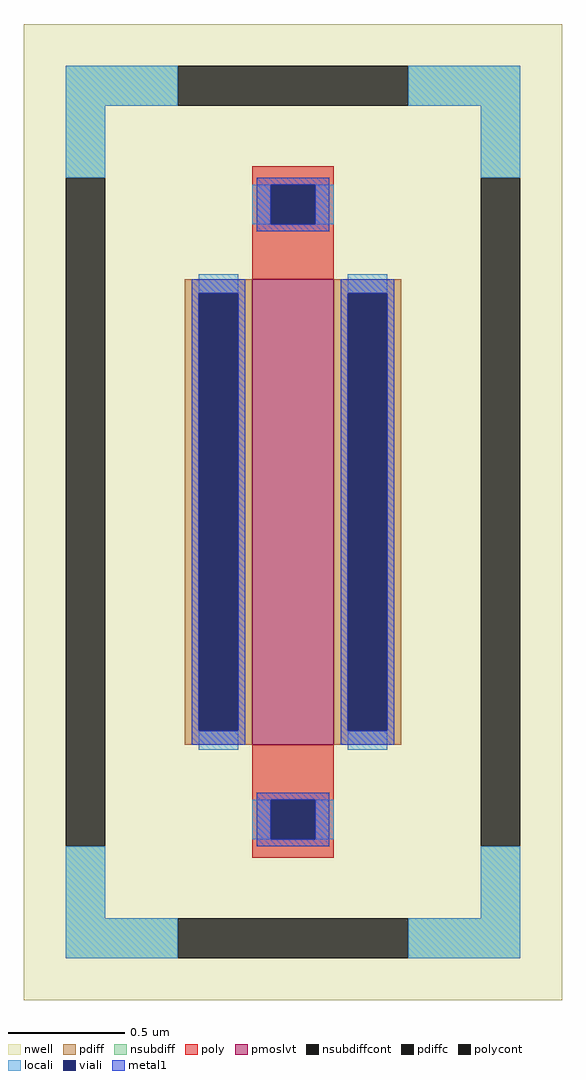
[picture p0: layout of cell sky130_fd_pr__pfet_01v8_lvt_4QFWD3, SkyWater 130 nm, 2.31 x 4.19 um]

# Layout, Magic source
magic
tech sky130A
magscale 1 2
<< nwell >>
rect -231 -419 231 419
<< pmoslvt >>
rect -35 -200 35 200
<< pdiff >>
rect -93 188 -35 200
rect -93 -188 -81 188
rect -47 -188 -35 188
rect -93 -200 -35 -188
rect 35 188 93 200
rect 35 -188 47 188
rect 81 -188 93 188
rect 35 -200 93 -188
<< pdiffc >>
rect -81 -188 -47 188
rect 47 -188 81 188
<< nsubdiff >>
rect -195 349 -99 383
rect 99 349 195 383
rect -195 287 -161 349
rect 161 287 195 349
rect -195 -349 -161 -287
rect 161 -349 195 -287
rect -195 -383 -99 -349
rect 99 -383 195 -349
<< nsubdiffcont >>
rect -99 349 99 383
rect -195 -287 -161 287
rect 161 -287 195 287
rect -99 -383 99 -349
<< poly >>
rect -35 281 35 297
rect -35 247 -19 281
rect 19 247 35 281
rect -35 200 35 247
rect -35 -247 35 -200
rect -35 -281 -19 -247
rect 19 -281 35 -247
rect -35 -297 35 -281
<< polycont >>
rect -19 247 19 281
rect -19 -281 19 -247
<< locali >>
rect -195 349 -99 383
rect 99 349 195 383
rect -195 287 -161 349
rect 161 287 195 349
rect -35 247 -19 281
rect 19 247 35 281
rect -81 188 -47 204
rect -81 -204 -47 -188
rect 47 188 81 204
rect 47 -204 81 -188
rect -35 -281 -19 -247
rect 19 -281 35 -247
rect -195 -349 -161 -287
rect 161 -349 195 -287
rect -195 -383 -99 -349
rect 99 -383 195 -349
<< viali >>
rect -19 247 19 281
rect -81 -188 -47 188
rect 47 -188 81 188
rect -19 -281 19 -247
<< metal1 >>
rect -31 281 31 287
rect -31 247 -19 281
rect 19 247 31 281
rect -31 241 31 247
rect -87 188 -41 200
rect -87 -188 -81 188
rect -47 -188 -41 188
rect -87 -200 -41 -188
rect 41 188 87 200
rect 41 -188 47 188
rect 81 -188 87 188
rect 41 -200 87 -188
rect -31 -247 31 -241
rect -31 -281 -19 -247
rect 19 -281 31 -247
rect -31 -287 31 -281
<< properties >>
string FIXED_BBOX -178 -366 178 366
string gencell sky130_fd_pr__pfet_01v8_lvt
string library sky130
string parameters w 2.0 l 0.35 m 1 nf 1 diffcov 100 polycov 100 guard 1 glc 1 grc 1 gtc 1 gbc 1 tbcov 100 rlcov 100 topc 1 botc 1 poverlap 0 doverlap 1 lmin 0.35 wmin 0.42 compatible {sky130_fd_pr__pfet_01v8  sky130_fd_pr__pfet_01v8_lvt sky130_fd_pr__pfet_01v8_hvt  sky130_fd_pr__pfet_g5v0d10v5} full_metal 1 viasrc 100 viadrn 100 viagate 100 viagb 0 viagr 0 viagl 0 viagt 0
<< end >>
